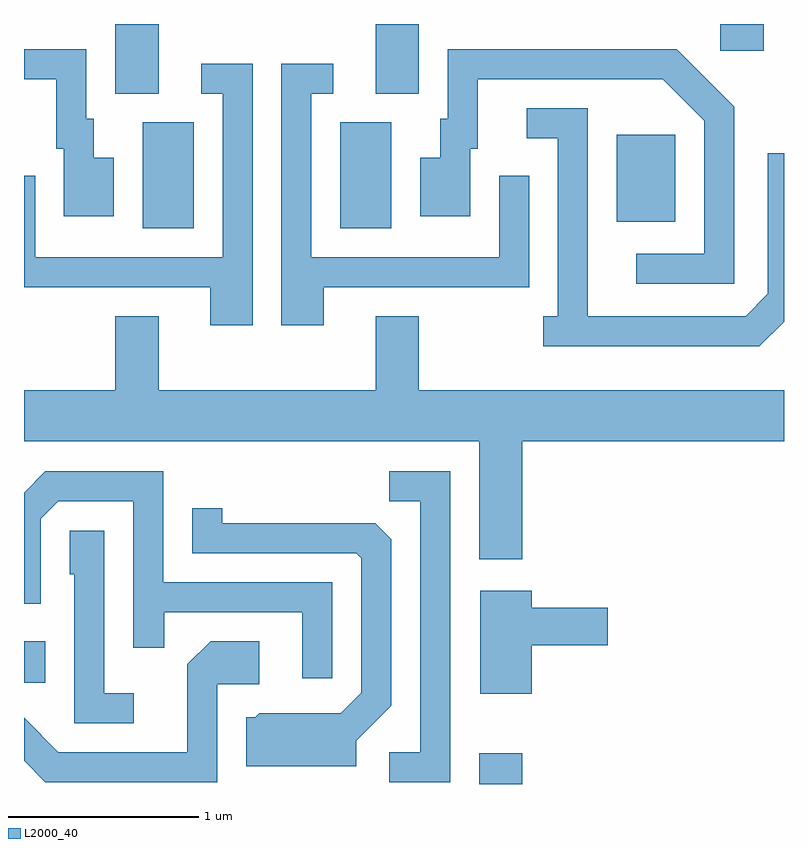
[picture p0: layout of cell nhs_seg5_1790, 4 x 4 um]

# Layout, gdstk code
import gdstk
lib = gdstk.Library(unit=1e-6, precision=1e-09)
def R(c, l, rs):  # rectangles x0, y0, x1, y1
    for r in rs: c.add(gdstk.rectangle(r[:2], r[2:], *l))
def P(c, l, *ps):  # polygons
    for p in ps: c.add(gdstk.Polygon(p, *l))
L2000_40 = (2000, 40)

nhs_seg5_1790 = lib.new_cell('nhs_seg5_1790')
R(nhs_seg5_1790, L2000_40, [(240.006,1486.072,240.234,1486.234), (237.611,1486.606,237.724,1486.824), (238.236,1488.996,238.504,1489.554), (239.276,1488.996,239.544,1489.554), (240.731,1489.031,241.039,1489.489), (238.091,1489.706,238.319,1490.072), (239.461,1489.706,239.689,1490.072), (241.276,1489.931,241.504,1490.072)])
P(nhs_seg5_1790, L2000_40, [(238.084,1489.369),(237.979,1489.369),(237.979,1489.574),(237.939,1489.574),(237.939,1489.939),(237.611,1489.939),(237.611,1489.781),(237.781,1489.781),(237.781,1489.416),(237.821,1489.416),(237.821,1489.061),(238.084,1489.061)],
  [(241.349,1489.637),(241.047,1489.939),(239.841,1489.939),(239.841,1489.574),(239.801,1489.574),(239.801,1489.369),(239.696,1489.369),(239.696,1489.061),(239.959,1489.061),(239.959,1489.416),(239.999,1489.416),(239.999,1489.781),(240.974,1489.781),(241.191,1489.564),(241.191,1488.864),(240.833,1488.864),(240.833,1488.706),(241.349,1488.706)],
  [(238.814,1489.864),(238.543,1489.864),(238.543,1489.706),(238.656,1489.706),(238.656,1488.844),(237.669,1488.844),(237.669,1489.273),(237.611,1489.273),(237.611,1488.686),(238.591,1488.686),(238.591,1488.486),(238.814,1488.486)],
  [(239.189,1488.686),(240.269,1488.686),(240.269,1489.273),(240.111,1489.273),(240.111,1488.844),(239.124,1488.844),(239.124,1489.706),(239.238,1489.706),(239.238,1489.864),(238.966,1489.864),(238.966,1488.486),(239.189,1488.486)],
  [(241.611,1488.506),(241.611,1489.393),(241.526,1489.393),(241.526,1488.652),(241.409,1488.534),(240.579,1488.534),(240.579,1489.629),(240.258,1489.629),(240.258,1489.471),(240.421,1489.471),(240.421,1488.534),(240.343,1488.534),(240.343,1488.376),(241.482,1488.376)],
  [(240.234,1487.876),(241.611,1487.876),(241.611,1488.144),(239.689,1488.144),(239.689,1488.534),(239.461,1488.534),(239.461,1488.144),(238.319,1488.144),(238.319,1488.534),(238.091,1488.534),(238.091,1488.144),(237.611,1488.144),(237.611,1487.876),(240.006,1487.876),(240.006,1487.256),(240.234,1487.256)],
  [(239.854,1487.719),(239.533,1487.719),(239.533,1487.561),(239.696,1487.561),(239.696,1486.239),(239.533,1486.239),(239.533,1486.081),(239.854,1486.081)],
  [(239.234,1487.134),(238.344,1487.134),(238.344,1487.719),(237.724,1487.719),(237.611,1487.606),(237.611,1487.021),(237.699,1487.021),(237.699,1487.469),(237.792,1487.561),(238.186,1487.561),(238.186,1486.788),(238.349,1486.788),(238.349,1486.976),(239.076,1486.976),(239.076,1486.628),(239.234,1486.628)],
  [(239.359,1486.299),(239.544,1486.484),(239.544,1487.359),(239.459,1487.444),(238.654,1487.444),(238.654,1487.523),(238.496,1487.523),(238.496,1487.286),(239.359,1487.286),(239.386,1487.259),(239.386,1486.552),(239.279,1486.444),(238.849,1486.444),(238.829,1486.424),(238.781,1486.424),(238.781,1486.166),(239.359,1486.166)],
  [(238.188,1486.549),(238.034,1486.549),(238.034,1487.404),(237.851,1487.404),(237.851,1487.176),(237.876,1487.176),(237.876,1486.391),(238.188,1486.391)],
  [(240.284,1486.801),(240.684,1486.801),(240.684,1486.999),(240.284,1486.999),(240.284,1487.089),(240.011,1487.089),(240.011,1486.546),(240.284,1486.546)],
  [(238.629,1486.596),(238.849,1486.596),(238.849,1486.824),(238.594,1486.824),(238.471,1486.702),(238.471,1486.239),(237.792,1486.239),(237.611,1486.42),(237.611,1486.194),(237.724,1486.081),(238.629,1486.081)])

lib.write_gds('nhs_seg5_1790.gds')
